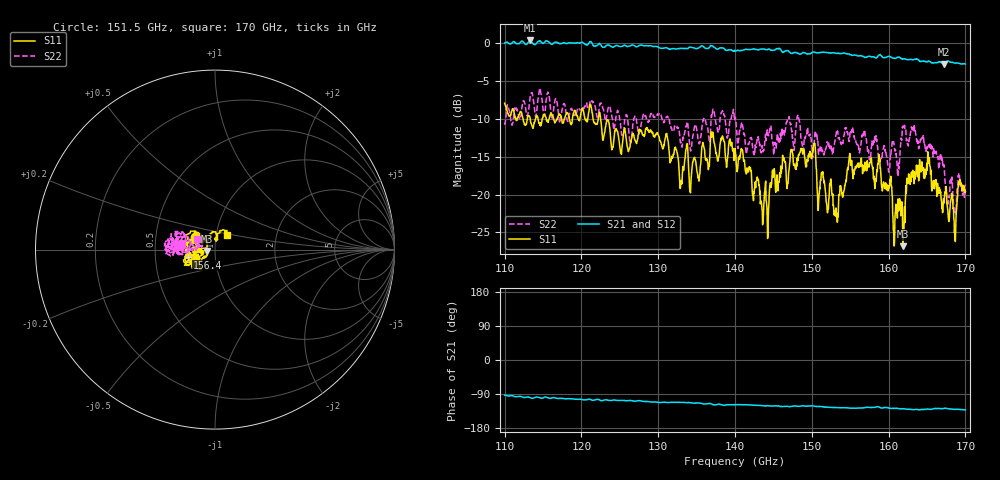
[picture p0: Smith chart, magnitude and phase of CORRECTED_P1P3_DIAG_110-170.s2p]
! Generated by Phase II Calibration
# Hz S RI R 50
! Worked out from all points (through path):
!   1471 points, 110 GHz to 170 GHz, reference 50 ohm
!   highest |S21| = 0.29 dB at 113.3 GHz (marker M1); lowest = -2.8 dB at 167.2 GHz (marker M2)
!   group delay of S21, straight-line fit = 1.66 ps
!   lowest |S11| = -26.8 dB at 161.9 GHz (marker M3), VSWR 1.10, Z = 45.7 - j0.681 ohm
!   |S11| at or under -10 dB: 113.3 GHz to 114 GHz (704.2 MHz wide, 0.619 % of centre); 121.5 GHz to 122.2 GHz (700.2 MHz wide, 0.575 % of centre); 122.5 GHz to end of sweep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
!   |S22| runs from -22.6 to -6.1 dB; largest |S21 - S12| = 0.025
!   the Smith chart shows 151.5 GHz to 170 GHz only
!   S11 on the Smith chart (normalised r, x): 151.5 GHz: 0.80, +0.11; 156.4 GHz: 0.73, -0.07; 170 GHz: 1.13, +0.18
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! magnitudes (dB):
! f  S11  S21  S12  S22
! 110 GHz  -8.0  -0.1  0.0  -10.6
! 113.3 GHz  -9.8  0.3  0.2  -7.2
! 120 GHz  -9.1  0.1  0.1  -8.9
! 126.4 GHz  -13.0  -0.4  -0.3  -13.2
! 130 GHz  -12.1  -0.6  -0.6  -9.5
! 133 GHz  -18.3  -0.8  -0.8  -13.2
! 137.1 GHz  -11.9  -0.4  -0.4  -9.3
! 140 GHz  -13.9  -1.1  -1.1  -9.8
! 143.5 GHz  -22.0  -0.8  -0.8  -14.2
! 146.9 GHz  -18.0  -1.1  -1.1  -10.0
! 150 GHz  -14.7  -1.3  -1.3  -13.7
! 151.5 GHz  -17.7  -1.3  -1.3  -14.4
! 153.1 GHz  -21.8  -1.4  -1.4  -12.1
! 154.9 GHz  -15.0  -1.5  -1.5  -12.8
! 156.4 GHz  -16.0  -1.7  -1.8  -13.3
! 160 GHz  -19.3  -1.8  -1.9  -17.0
! 161.9 GHz  -26.8  -2.2  -2.1  -11.0
! 162.7 GHz  -18.0  -2.2  -2.3  -13.0
! 165.1 GHz  -15.1  -2.5  -2.5  -13.7
! 167.2 GHz  -20.7  -2.8  -2.7  -16.1
! 168.6 GHz  -24.5  -2.7  -2.6  -21.8
! 170 GHz  -19.6  -2.8  -2.8  -18.7
